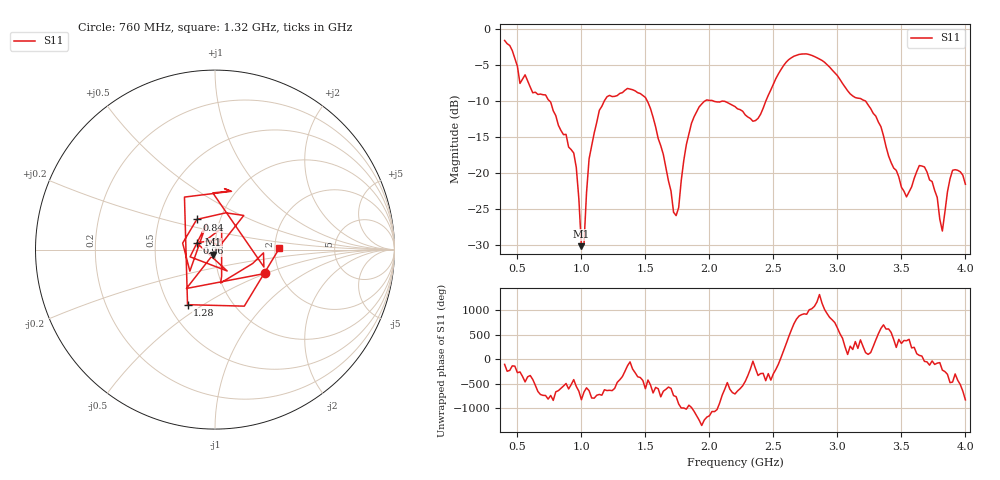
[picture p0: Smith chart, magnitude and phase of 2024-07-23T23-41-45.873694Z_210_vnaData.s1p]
!Created with skrf (http://scikit-rf.org).
# Hz S RI R 50.0
!freq ReS11 ImS11
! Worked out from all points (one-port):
!   181 points, 400 MHz to 4 GHz, reference 50 ohm
!   lowest |S11| = -30.2 dB at 1 GHz (marker M1), VSWR 1.06, Z = 48.8 - j2.79 ohm
!   |S11| at or under -10 dB: 748.3 MHz to 1.18 GHz (432 MHz wide, 44.8 % of centre); 1.513 GHz to 1.97 GHz (456.7 MHz wide, 26.2 % of centre); 3.213 GHz to end of sweep (the widest 3 of 4)
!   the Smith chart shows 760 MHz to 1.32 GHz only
!   S11 on the Smith chart (normalised r, x): 760 MHz: 1.68, -0.49; 840 MHz: 0.77, +0.27; 960 MHz: 0.81, +0.06; 1.28 GHz: 0.62, -0.43; 1.32 GHz: 2.12, +0.04
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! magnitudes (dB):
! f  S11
! 400 MHz  -1.7
! 520 MHz  -7.6
! 760 MHz  -10.2
! 840 MHz  -14.1
! 860 MHz  -14.7
! 960 MHz  -19.3
! 1 GHz  -30.2
! 1.02 GHz  -30.0
! 1.06 GHz  -18.1
! 1.14 GHz  -11.4
! 1.28 GHz  -9.3
! 1.3 GHz  -9.0
! 1.32 GHz  -8.9
! 1.52 GHz  -10.2
! 1.72 GHz  -25.5
! 1.76 GHz  -24.8
! 1.82 GHz  -16.1
! 1.92 GHz  -10.9
! 2.2 GHz  -10.8
! 2.38 GHz  -12.5
! 2.66 GHz  -3.8
! 3.1 GHz  -9.1
! 3.3 GHz  -12.1
! 3.56 GHz  -22.7
! 3.68 GHz  -19.2
! 3.82 GHz  -28.1
! 3.9 GHz  -19.7
! 4 GHz  -21.6
